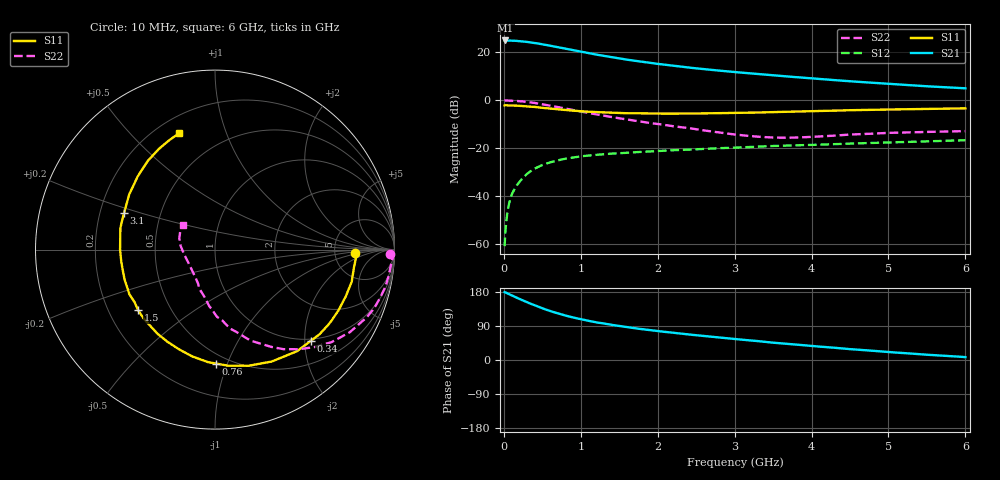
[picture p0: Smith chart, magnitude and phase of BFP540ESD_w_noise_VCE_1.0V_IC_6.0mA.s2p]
! Infineon Technologies  Discrete & RF Semiconductors
! BFP540ESD
! VCE =  1.0 V,  IC =  6.0 mA
! Common Emitter S-Parameters:  Nov 2015
# GHz  S  MA  R  50
!  f  S11  S21  S12  S22
! GHz  MAG  ANG  MAG  ANG  MAG  ANG  MAG  ANG
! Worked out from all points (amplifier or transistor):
!   210 points, 10 MHz to 6 GHz, reference 50 ohm
!   highest |S21| = 25.0 dB at 20 MHz (marker M1)
!   |S21| within 3 dB of that: start of sweep to 734.2 MHz
!   unconditionally stable (mu >= 1): 3.151 GHz to end of sweep
!   at 185 MHz: K = 0.05, MSG = 29.8 dB, |S12| = -34.8 dB
!   at 1.52 GHz: K = 0.57, MSG = 19.7 dB, |S12| = -22.1 dB
!   at 6 GHz: K = 1.21, MAG = 8.1 dB, |S12| = -16.7 dB
!   lowest NFmin = 0.73 dB at 900 MHz
!   S11 on the Smith chart (normalised r, x): 10 MHz: 8.03, -0.67; 340 MHz: 0.96, -2.13; 760 MHz: 0.43, -0.91; 1.5 GHz: 0.33, -0.31; 3.1 GHz: 0.30, +0.18; 6 GHz: 0.29, +0.70
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0.01  0.7798 -1.2  17.7 179.0  0.0009 86.1  0.9763 -1.5
0.02  0.7875 -3.1  17.73 178.4  0.0018 95.4  0.9944 -1.7
0.07  0.7802 -9.2  17.6 173.6  0.0072 86.3  0.9827 -5.7
0.15  0.7739 -19.7  17.46 166.1  0.0151 81.2  0.9718 -12.3
0.26  0.7569 -33.9  16.82 156.1  0.0251 73.7  0.9404 -21.1
0.34  0.7367 -43.7  16.16 149.2  0.0323 69.2  0.9055 -27.0
0.4  0.7275 -51.1  15.7 144.1  0.0374 66.7  0.8808 -31.5
0.5  0.6992 -63.1  14.84 136.2  0.0444 61.8  0.829 -38.5
0.6  0.6736 -73.9  13.79 129.1  0.0505 57.5  0.7751 -44.5
0.7  0.6512 -83.5  12.89 123.1  0.0556 53.4  0.7229 -50.2
0.76  0.6351 -89.4  12.31 119.7  0.0584 51.5  0.6917 -53.3
0.9  0.6088 -101.8  11.09 112.1  0.0638 47.3  0.6257 -60.0
1.02  0.5876 -111.1  10.18 106.8  0.0682 44.4  0.5738 -65.2
1.2  0.568 -124.2  8.979 99.5  0.0724 40.3  0.5082 -71.9
1.5  0.5452 -141.9  7.459 89.6  0.0783 36.0  0.4207 -81.7
1.7  0.538 -152.4  6.688 83.8  0.0822 33.8  0.3753 -88.2
2.02  0.5273 -165.9  5.703 75.8  0.0874 31.5  0.317 -95.8
2.6  0.5324 173.0  4.463 63.2  0.0964 28.1  0.2349 -111.7
3.1  0.5461 158.1  3.762 53.5  0.1043 25.6  0.1857 -127.3
4.1  0.5974 134.6  2.788 35.4  0.1183 19.8  0.1755 -173.4
5.1  0.6449 117.9  2.155 19.6  0.1328 14.3  0.2103 160.2
6  0.6786 107.1  1.778 7.6  0.1467 10.1  0.2273 142.1
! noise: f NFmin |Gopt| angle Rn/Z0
0.9  0.73  0.05  38  0.12
1.8  0.95  0.08  153  0.11
2.4  0.97  0.09  154  0.1
3  1.1  0.19  178  0.09
4  1.28  0.3  -122  0.14
5  1.5  0.42  -99  0.29
6  1.73  0.51  -100  0.43
